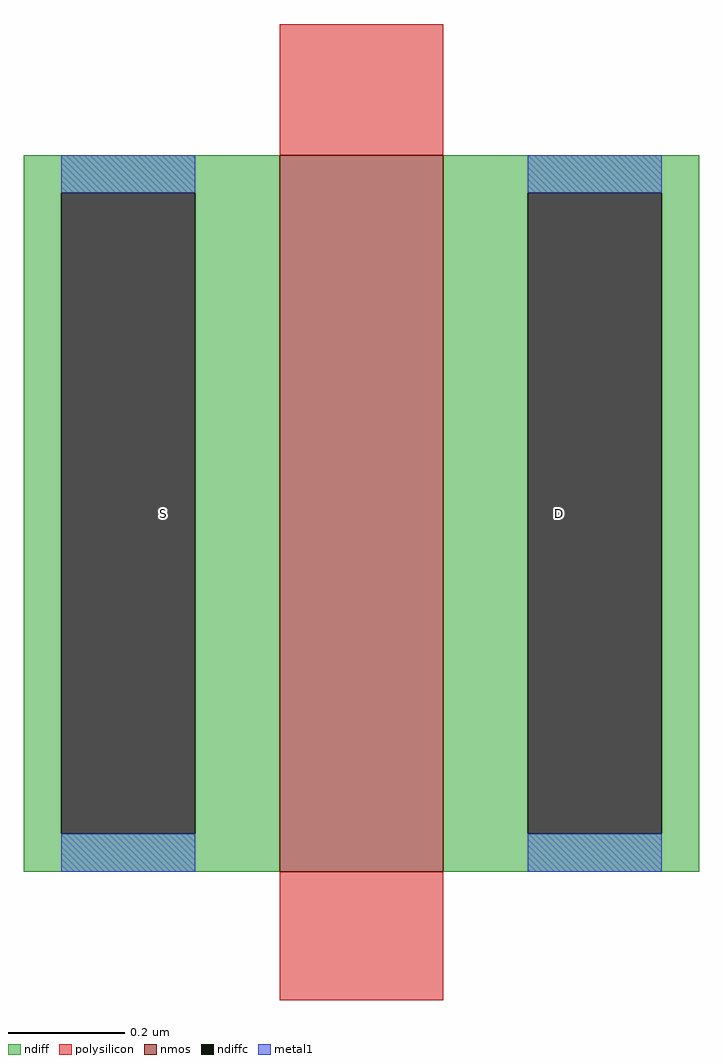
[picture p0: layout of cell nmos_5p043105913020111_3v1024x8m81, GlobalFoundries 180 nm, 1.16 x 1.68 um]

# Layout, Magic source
magic
tech gf180mcuD
magscale 1 10
<< nmos >>
rect 0 0 56 246
<< ndiff >>
rect -88 233 0 246
rect -88 13 -75 233
rect -29 13 0 233
rect -88 0 0 13
rect 56 233 144 246
rect 56 13 85 233
rect 131 13 144 233
rect 56 0 144 13
<< ndiffc >>
rect -75 13 -29 233
rect 85 13 131 233
<< polysilicon >>
rect 0 246 56 291
rect 0 -44 56 0
<< metal1 >>
rect -75 233 -29 246
rect -75 0 -29 13
rect 85 233 131 246
rect 85 0 131 13
<< labels >>
flabel ndiffc -40 123 -40 123 0 FreeSans 93 0 0 0 S
flabel ndiffc 96 123 96 123 0 FreeSans 93 0 0 0 D
<< end >>
